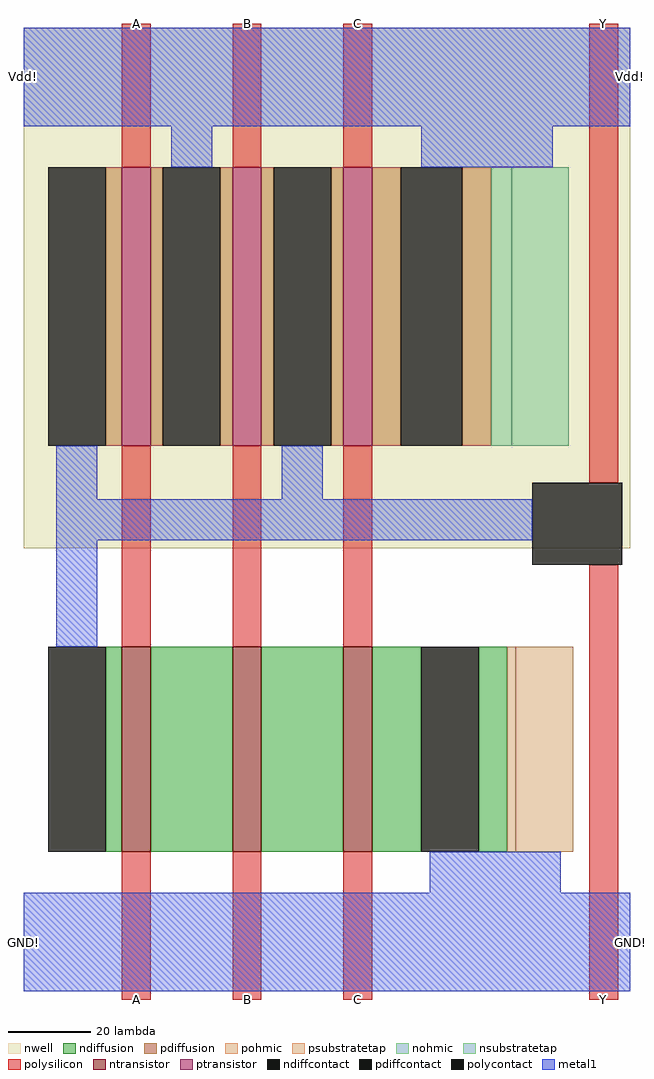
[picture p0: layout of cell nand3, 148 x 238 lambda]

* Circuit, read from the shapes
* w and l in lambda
.subckt nand3 A B C GND! Vdd! Y
M1 n1 A Y GND! nfet w=50 l=7
M2 n2 B n1 GND! nfet w=50 l=7
M3 GND! C n2 GND! nfet w=50 l=7
M4 Vdd! A Y Vdd! pfet w=68 l=7
M5 Y B Vdd! Vdd! pfet w=68 l=7
M6 Vdd! C Y Vdd! pfet w=68 l=7
.ends

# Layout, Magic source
magic
tech c35b4
<< nwell >>
rect 0 110 148 237
<< polysilicon >>
rect 24 203 31 238
rect 51 203 58 238
rect 78 203 85 238
rect 24 86 31 135
rect 51 86 58 135
rect 78 86 85 135
rect 138 126 145 238
rect 24 0 31 36
rect 51 0 58 36
rect 78 0 85 36
rect 138 0 145 106
<< ndiffusion >>
rect 20 36 24 86
rect 31 36 51 86
rect 58 36 78 86
rect 85 36 97 86
rect 111 36 118 86
<< pdiffusion >>
rect 20 135 24 203
rect 31 135 34 203
rect 48 135 51 203
rect 58 135 61 203
rect 75 135 78 203
rect 85 135 92 203
rect 107 135 114 203
<< pohmic >>
rect 118 36 120 86
<< nohmic >>
rect 114 135 119 203
<< ntransistor >>
rect 24 36 31 86
rect 51 36 58 86
rect 78 36 85 86
<< ptransistor >>
rect 24 135 31 203
rect 51 135 58 203
rect 78 135 85 203
<< polycontact >>
rect 124 106 146 126
<< ndiffcontact >>
rect 6 36 20 86
rect 97 36 111 86
<< pdiffcontact >>
rect 6 135 20 203
rect 34 135 48 203
rect 61 135 75 203
rect 92 135 107 203
<< psubstratetap >>
rect 120 36 134 86
<< nsubstratetap >>
rect 119 135 133 203
<< metal1 >>
rect 0 213 148 237
rect 36 203 46 213
rect 97 203 129 213
rect 8 122 18 135
rect 63 122 73 135
rect 8 112 124 122
rect 8 86 18 112
rect 99 26 131 36
rect 0 2 148 26
<< labels >>
rlabel polysilicon 51 238 58 238 5 B
rlabel polysilicon 24 238 31 238 5 A
rlabel metal1 0 213 0 237 3 Vdd!
rlabel polysilicon 78 238 85 238 5 C
rlabel polysilicon 138 238 145 238 5 Y
rlabel metal1 148 213 148 237 7 Vdd!
rlabel polysilicon 51 0 58 0 1 B
rlabel polysilicon 24 0 31 0 1 A
rlabel polysilicon 78 0 85 0 1 C
rlabel metal1 0 2 0 26 3 GND!
rlabel metal1 148 2 148 26 7 GND!
rlabel polysilicon 138 0 145 0 1 Y
<< end >>
